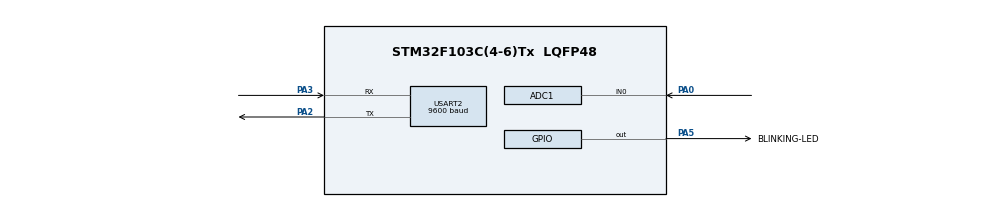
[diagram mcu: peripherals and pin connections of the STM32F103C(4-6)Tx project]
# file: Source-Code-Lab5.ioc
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ADC1.Channel-1\#ChannelRegularConversion=ADC_CHANNEL_0
ADC1.ContinuousConvMode=ENABLE
ADC1.NbrOfConversionFlag=1
ADC1.Rank-1\#ChannelRegularConversion=1
ADC1.SamplingTime-1\#ChannelRegularConversion=ADC_SAMPLETIME_1CYCLE_5
ADC1.master=1
Mcu.Family=STM32F1
Mcu.Name=STM32F103C(4-6)Tx
Mcu.Package=LQFP48
NVIC.PriorityGroup=NVIC_PRIORITYGROUP_4
NVIC.TIM2_IRQn=true\:0\:0\:false\:false\:true\:true\:true
NVIC.USART2_IRQn=true\:0\:0\:false\:false\:true\:true\:true
PA0-WKUP.Signal=ADCx_IN0
PA2.Mode=Asynchronous
PA2.Signal=USART2_TX
PA3.Mode=Asynchronous
PA3.Signal=USART2_RX
PA5.GPIO_Label=BLINKING-LED
PA5.Signal=GPIO_Output
ProjectManager.HeapSize=0x200
ProjectManager.StackSize=0x400
ProjectManager.TargetToolchain=STM32CubeIDE
RCC.APB1Freq_Value=8000000
RCC.APB2Freq_Value=8000000
SH.ADCx_IN0.0=ADC1_IN0,IN0
TIM2.Period=7999
TIM2.Prescaler=9
USART2.BaudRate=9600
USART2.VirtualMode=VM_ASYNC
VP_SYS_VS_ND.Mode=No_Debug
VP_TIM2_VS_ClockSourceINT.Mode=Internal
board=custom

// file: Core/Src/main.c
/* USER CODE BEGIN Header */
/**
  ******************************************************************************
  * @file           : main.c
  * @brief          : Main program body
  ******************************************************************************
  * @attention
  *
  * <h2><center>&copy; Copyright (c) 2025 STMicroelectronics.
  * All rights reserved.</center></h2>
  *
  * This software component is licensed by ST under BSD 3-Clause license,
  * the "License"; You may not use this file except in compliance with the
  * License. You may obtain a copy of the License at:
  *                        opensource.org/licenses/BSD-3-Clause
  *
  ******************************************************************************
  */
/* USER CODE END Header */
#include "main.h"
/* USER CODE BEGIN Includes */
#include <stdio.h>
#include <stdint.h>

/* USER CODE END Includes */

/* USER CODE BEGIN PD */
#define DISPLAY_CALLBACK_TIME (int16_t)300

#define MAX_BUFFER_SIZE 30

#define RST_LEN 5
#define OK_LEN 4

#define PARSER_INIT 0

#define PARSER_IDLE 1
#define PARSER_CHECK_RST 2
#define PARSER_RST 3
#define PARSER_CHECK_IDLE 4

#define UART_COMM_NON_DISPLAY 0
#define UART_COMM_DISPLAY 1
/* USER CODE END PD */

ADC_HandleTypeDef hadc1;

TIM_HandleTypeDef htim2;

UART_HandleTypeDef huart2;

void SystemClock_Config(void);
static void MX_GPIO_Init(void);
static void MX_USART2_UART_Init(void);
static void MX_ADC1_Init(void);
static void MX_TIM2_Init(void);
/* USER CODE BEGIN PFP */
void command_parser_fsm();
void uart_communiation_fsm();

int IsCommand(const char* cmd, uint8_t cmd_len);
/* USER CODE END PFP */

/* USER CODE BEGIN 0 */

const char* rst_cmd = "!RST#";
const char* ok_cmd = "!OK#";

uint16_t display_counter = DISPLAY_CALLBACK_TIME;
uint8_t display_flag = 0;

uint8_t command_parser_state = PARSER_INIT;
uint8_t state_change_flag = 0;
uint8_t uart_comm_state = UART_COMM_NON_DISPLAY;

uint8_t temp = 0;
uint8_t buffer[MAX_BUFFER_SIZE];
int8_t index_buffer = 0;
uint8_t buffer_flag = 0;

uint32_t ADC_value = 0;
char display_buffer[10];

int blinking_timer = 50;
int blinking_flag = 0;

void HAL_UART_RxCpltCallback ( UART_HandleTypeDef * huart ) {
	if (huart -> Instance == USART2) {
		if(index_buffer == 30) index_buffer = 0;

		buffer_flag = 1;

		if(temp == 8){
			index_buffer--;
			if(index_buffer < 0) index_buffer = MAX_BUFFER_SIZE - 1;
		}
		else{
			buffer[index_buffer++] = temp;
		}

		HAL_UART_Transmit(&huart2, &temp, 1, 1000);
		HAL_UART_Receive_IT(&huart2, &temp, 1);
	}
}

void command_parser_fsm(){
	int last = index_buffer - 1;
	if(last < 0) last += MAX_BUFFER_SIZE;
	switch(command_parser_state){
	case PARSER_INIT:
		display_counter = DISPLAY_CALLBACK_TIME;
		display_flag = 0;

		command_parser_state = PARSER_IDLE;
		state_change_flag = 0;
		uart_comm_state = UART_COMM_NON_DISPLAY;

		ADC_value = 0;

		break;

	case PARSER_IDLE:
		if(buffer[last] == '#' && IsCommand(rst_cmd, RST_LEN)){
			state_change_flag = 1;
			command_parser_state = PARSER_RST;
		}
		break;

	case PARSER_RST:
		if(buffer[last] == '#' && IsCommand(ok_cmd, OK_LEN)){
			command_parser_state = PARSER_IDLE;
			state_change_flag = 1;
		}
		break;

	default:
		break;
	}
}

void uart_communiation_fsm(){
	switch(uart_comm_state){
	case UART_COMM_NON_DISPLAY:
		if(state_change_flag == 1){
			state_change_flag = 0;

			uart_comm_state = UART_COMM_DISPLAY;

			//Displayed once for the state change then start counting
			display_flag = 0;
			display_counter = DISPLAY_CALLBACK_TIME;

			ADC_value = HAL_ADC_GetValue(&hadc1);

			int len = sprintf(display_buffer, "\r\n!ADC=%d#", (int)ADC_value);
			HAL_UART_Transmit(&huart2, (void*)display_buffer, len, 1000);
		}
		break;

	case UART_COMM_DISPLAY:
		if(display_flag == 1){
			display_flag = 0;
			display_counter = DISPLAY_CALLBACK_TIME;

//			ADC_value = HAL_ADC_GetValue(&hadc1);

			int len = sprintf(display_buffer, "\r\n!ADC=%d#", (int)ADC_value);
			HAL_UART_Transmit(&huart2, (void*)display_buffer, len, 1000);
		}

		if(state_change_flag == 1){
			uart_comm_state = UART_COMM_NON_DISPLAY;
			state_change_flag = 0;
		}
		break;

default:
		break;
	}
}

int IsCommand(const char* cmd, uint8_t cmd_len){
	for(int i = 0; i < cmd_len; ++i){
		int index = index_buffer - i - 1;
		if(index < 0) index = MAX_BUFFER_SIZE + index;

		if(buffer[index] != cmd[cmd_len - i - 1]){
			return 0;
		}
	}
	return 1;
}
/* USER CODE END 0 */

int main(void)
{

  /* MCU Configuration--------------------------------------------------------*/

  /* Reset of all peripherals, Initializes the Flash interface and the Systick. */
  HAL_Init();

  /* Configure the system clock */
  SystemClock_Config();

  /* Initialize all configured peripherals */
  MX_GPIO_Init();
  MX_USART2_UART_Init();
  MX_ADC1_Init();
  MX_TIM2_Init();
  /* USER CODE BEGIN 2 */

  HAL_ADC_Start(&hadc1);
  HAL_UART_Receive_IT(&huart2, &temp, 1);

  HAL_TIM_Base_Start_IT(&htim2);
  /* USER CODE END 2 */

  /* Infinite loop */
  while (1)
  {

    /* USER CODE BEGIN 3 */
	    if(buffer_flag == 1){
	        command_parser_fsm();
	        buffer_flag = 0;
	    }

	    uart_communiation_fsm();

	    if(blinking_flag == 1){
	    	blinking_flag = 0;
	    	HAL_GPIO_TogglePin(GPIOA, BLINKING_LED_Pin);
	    	blinking_timer = 50;
	    }
  }
  /* USER CODE END 3 */
}

void SystemClock_Config(void)
{
  RCC_OscInitTypeDef RCC_OscInitStruct = {0};
  RCC_ClkInitTypeDef RCC_ClkInitStruct = {0};
  RCC_PeriphCLKInitTypeDef PeriphClkInit = {0};

  /** Initializes the RCC Oscillators according to the specified parameters
  * in the RCC_OscInitTypeDef structure.
  */
  RCC_OscInitStruct.OscillatorType = RCC_OSCILLATORTYPE_HSI;
  RCC_OscInitStruct.HSIState = RCC_HSI_ON;
  RCC_OscInitStruct.HSICalibrationValue = RCC_HSICALIBRATION_DEFAULT;
  RCC_OscInitStruct.PLL.PLLState = RCC_PLL_NONE;
  if (HAL_RCC_OscConfig(&RCC_OscInitStruct) != HAL_OK)
  {
    Error_Handler();
  }
  /** Initializes the CPU, AHB and APB buses clocks
  */
  RCC_ClkInitStruct.ClockType = RCC_CLOCKTYPE_HCLK|RCC_CLOCKTYPE_SYSCLK
                              |RCC_CLOCKTYPE_PCLK1|RCC_CLOCKTYPE_PCLK2;
  RCC_ClkInitStruct.SYSCLKSource = RCC_SYSCLKSOURCE_HSI;
  RCC_ClkInitStruct.AHBCLKDivider = RCC_SYSCLK_DIV1;
  RCC_ClkInitStruct.APB1CLKDivider = RCC_HCLK_DIV1;
  RCC_ClkInitStruct.APB2CLKDivider = RCC_HCLK_DIV1;

  if (HAL_RCC_ClockConfig(&RCC_ClkInitStruct, FLASH_LATENCY_0) != HAL_OK)
  {
    Error_Handler();
  }
  PeriphClkInit.PeriphClockSelection = RCC_PERIPHCLK_ADC;
  PeriphClkInit.AdcClockSelection = RCC_ADCPCLK2_DIV2;
  if (HAL_RCCEx_PeriphCLKConfig(&PeriphClkInit) != HAL_OK)
  {
    Error_Handler();
  }
}

static void MX_ADC1_Init(void)
{

  ADC_ChannelConfTypeDef sConfig = {0};

  /** Common config
  */
  hadc1.Instance = ADC1;
  hadc1.Init.ScanConvMode = ADC_SCAN_DISABLE;
  hadc1.Init.ContinuousConvMode = ENABLE;
  hadc1.Init.DiscontinuousConvMode = DISABLE;
  hadc1.Init.ExternalTrigConv = ADC_SOFTWARE_START;
  hadc1.Init.DataAlign = ADC_DATAALIGN_RIGHT;
  hadc1.Init.NbrOfConversion = 1;
  if (HAL_ADC_Init(&hadc1) != HAL_OK)
  {
    Error_Handler();
  }
  /** Configure Regular Channel
  */
  sConfig.Channel = ADC_CHANNEL_0;
  sConfig.Rank = ADC_REGULAR_RANK_1;
  sConfig.SamplingTime = ADC_SAMPLETIME_1CYCLE_5;
  if (HAL_ADC_ConfigChannel(&hadc1, &sConfig) != HAL_OK)
  {
    Error_Handler();
  }

}

static void MX_TIM2_Init(void)
{

  TIM_ClockConfigTypeDef sClockSourceConfig = {0};
  TIM_MasterConfigTypeDef sMasterConfig = {0};

  htim2.Instance = TIM2;
  htim2.Init.Prescaler = 9;
  htim2.Init.CounterMode = TIM_COUNTERMODE_UP;
  htim2.Init.Period = 7999;
  htim2.Init.ClockDivision = TIM_CLOCKDIVISION_DIV1;
  htim2.Init.AutoReloadPreload = TIM_AUTORELOAD_PRELOAD_DISABLE;
  if (HAL_TIM_Base_Init(&htim2) != HAL_OK)
  {
    Error_Handler();
  }
  sClockSourceConfig.ClockSource = TIM_CLOCKSOURCE_INTERNAL;
  if (HAL_TIM_ConfigClockSource(&htim2, &sClockSourceConfig) != HAL_OK)
  {
    Error_Handler();
  }
  sMasterConfig.MasterOutputTrigger = TIM_TRGO_RESET;
  sMasterConfig.MasterSlaveMode = TIM_MASTERSLAVEMODE_DISABLE;
  if (HAL_TIMEx_MasterConfigSynchronization(&htim2, &sMasterConfig) != HAL_OK)
  {
    Error_Handler();
  }

}

static void MX_USART2_UART_Init(void)
{

  huart2.Instance = USART2;
  huart2.Init.BaudRate = 9600;
  huart2.Init.WordLength = UART_WORDLENGTH_8B;
  huart2.Init.StopBits = UART_STOPBITS_1;
  huart2.Init.Parity = UART_PARITY_NONE;
  huart2.Init.Mode = UART_MODE_TX_RX;
  huart2.Init.HwFlowCtl = UART_HWCONTROL_NONE;
  huart2.Init.OverSampling = UART_OVERSAMPLING_16;
  if (HAL_UART_Init(&huart2) != HAL_OK)
  {
    Error_Handler();
  }

}

static void MX_GPIO_Init(void)
{
  GPIO_InitTypeDef GPIO_InitStruct = {0};

  /* GPIO Ports Clock Enable */
  __HAL_RCC_GPIOA_CLK_ENABLE();

  /*Configure GPIO pin Output Level */
  HAL_GPIO_WritePin(BLINKING_LED_GPIO_Port, BLINKING_LED_Pin, GPIO_PIN_RESET);

  /*Configure GPIO pin : BLINKING_LED_Pin */
  GPIO_InitStruct.Pin = BLINKING_LED_Pin;
  GPIO_InitStruct.Mode = GPIO_MODE_OUTPUT_PP;
  GPIO_InitStruct.Pull = GPIO_NOPULL;
  GPIO_InitStruct.Speed = GPIO_SPEED_FREQ_LOW;
  HAL_GPIO_Init(BLINKING_LED_GPIO_Port, &GPIO_InitStruct);

}

/* USER CODE BEGIN 4 */
void HAL_TIM_PeriodElapsedCallback(TIM_HandleTypeDef *htim){
	if(htim->Instance == TIM2){
		if(display_counter > 0){
			--display_counter;
			if(display_counter <= 0){
				display_flag = 1;
			}
		}

		if(blinking_timer > 0){
			--blinking_timer;
			if(blinking_timer <= 0){
				blinking_flag = 1;
			}
		}
	}
}
/* USER CODE END 4 */

void Error_Handler(void)
{
  __disable_irq();
  while (1)
  {
  }
}

/************************ (C) COPYRIGHT STMicroelectronics *****END OF FILE****/
